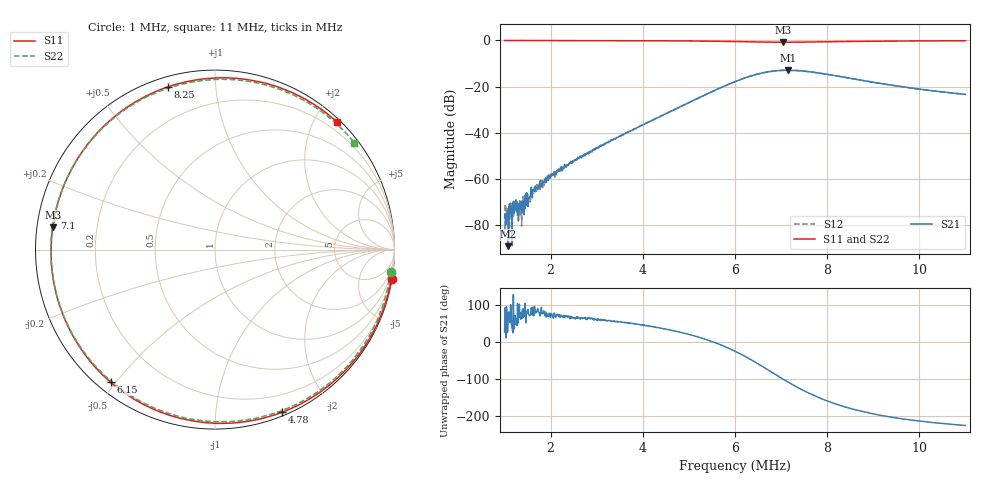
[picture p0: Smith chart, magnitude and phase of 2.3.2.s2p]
# MHz S DB R 50
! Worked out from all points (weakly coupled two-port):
!   1001 points, 1 MHz to 11 MHz, reference 50 ohm
!   highest |S21| = -12.89 dB at 7.16 MHz (marker M1); lowest = -88.9 dB at 1.08 MHz (marker M2)
!   lowest |S11| = -0.8 dB at 7.05 MHz (marker M3), VSWR 21.86, Z = 2.3 + j3.4 ohm
!   |S11| at or under -10 dB: nowhere
!   |S22| runs from -0.8 to -0.1 dB; largest |S21 - S12| = 0.0041
!   S11 on the Smith chart (normalised r, x): 1 MHz: 0, -12; 4.78 MHz: 0.03, -1.49; 6.15 MHz: 0.04, -0.48; 7.1 MHz: 0.05, +0.10; 8.25 MHz: 0.05, +0.75; 11 MHz: 0.05, +2.33
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1  -0.02 -9.5  -84.34 27.7  -77.13 -13.4  -0.12 -7.3
1.08  -0.03 -10.3  -88.94 79.3  -73.26 51.8  -0.12 -7.9
1.24  -0.03 -11.8  -72.49 49.3  -72.40 74.7  -0.12 -9.0
1.33  -0.02 -12.7  -69.31 74.5  -69.64 72.3  -0.13 -9.6
1.43  -0.03 -13.6  -69.57 70.5  -69.23 86.5  -0.12 -10.4
1.52  -0.03 -14.5  -68.06 75.8  -68.35 59.4  -0.12 -11.0
1.75  -0.04 -16.8  -62.98 81.0  -62.40 85.5  -0.12 -12.7
2.01  -0.04 -19.5  -58.79 72.3  -57.64 72.3  -0.12 -14.8
2.67  -0.05 -27.1  -50.84 67.2  -50.46 65.9  -0.13 -20.6
4.34  -0.12 -55.8  -33.25 39.6  -33.21 38.4  -0.17 -43.7
4.78  -0.17 -67.6  -28.98 28.4  -29.00 27.3  -0.20 -53.9
5.41  -0.29 -90.1  -22.98 5.8  -23.00 4.9  -0.29 -75.2
6  -0.47 -119.4  -17.81 -24.4  -17.82 -25.4  -0.47 -106.8
6.15  -0.53 -128.2  -16.67 -33.9  -16.66 -34.9  -0.53 -117.2
6.65  -0.73 -160.7  -13.82 -70.1  -13.82 -71.0  -0.72 -158.7
7.05  -0.80 172.2  -12.92 -100.9  -12.92 -101.9  -0.78 165.1
7.1  -0.79 168.9  -12.89 -104.6  -12.90 -105.6  -0.78 160.8
7.16  -0.79 164.9  -12.89 -109.1  -12.89 -110.0  -0.77 155.7
7.67  -0.68 134.0  -13.66 -142.5  -13.66 -143.5  -0.63 118.1
8.25  -0.51 106.3  -15.50 -170.7  -15.50 -171.7  -0.46 88.7
9.34  -0.27 72.6  -19.17 157.4  -19.18 156.4  -0.28 58.4
11  -0.15 46.4  -23.36 133.7  -23.36 132.6  -0.20 37.6
